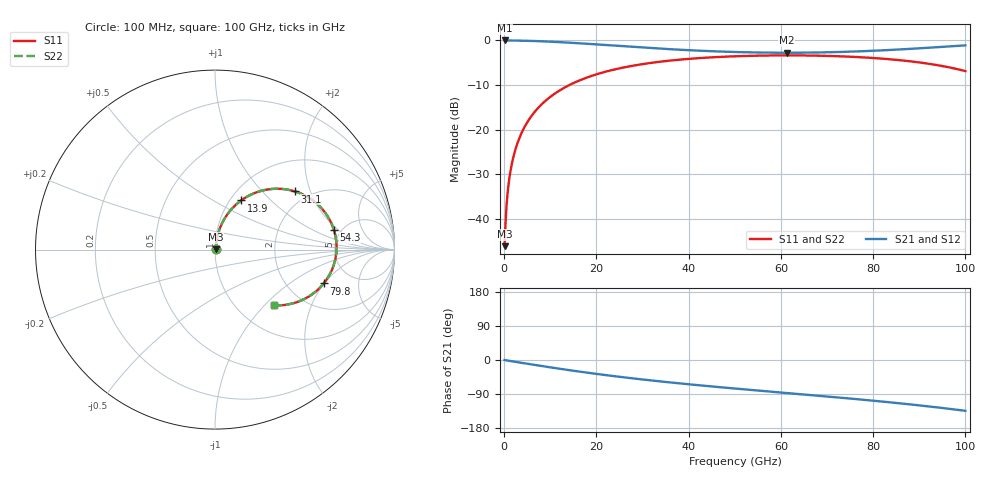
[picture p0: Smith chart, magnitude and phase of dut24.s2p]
! Touchstone file exported from HFSS 2026.1.0
!  File:  C:/ffzhzh/LocalFiles/Ansys_Project_Files/temp_train_RDL_24_1783497861_9504.aedt
!  Generated:  04:05:27 PM Jul  8, 2026
!  Design:  RDL
!  Project:  temp_train_RDL_24_1783497861_9504
! Variables:
!  h_bsmrdl = 2um
!  h_ox = 20um
!  h_rdl = 5um
!  h_sub = 80um
!  h_tmrdl = 2.34um
!  h_tsv = 80um
!  h_via = 3um
!  l_bsmrdl = 300um
!  l_sub = 853.92um
!  l_tmrdl = 453.92um
!  m_sub = 200um
!  pitch = 55.3um
!  r_tsv = 6um
!  s_tmrdl = 10um
!  w_bsmrdl = 18um
!  w_sub = 500um
!  w_tmrdl = 17.19um
!  x_tsv_center1 = 462.515um
!  x_tsv_center2 = 780.515um
!  x_tsv_center3 = 1251.625um
!  x_tsv_center4 = 1569.625um
!  x_tsv_center5 = 2040.735um
!  x_tsv_center6 = 2358.735um
# GHz S MA R 50.000000
! Terminal data exported
! Port[1] = TM_RDL1_1_T1
! Port[2] = TM_RDL1_1_T2
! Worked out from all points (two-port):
!   1000 points, 100 MHz to 100 GHz, reference 50 ohm
!   highest |S21| = -0.04 dB at 100 MHz (marker M1); lowest = -2.8 dB at 61.3 GHz (marker M2)
!   |S21| within 3 dB of the highest: start of sweep to end of sweep
!   lowest |S11| = -46.2 dB at 100 MHz (marker M3), VSWR 1.01, Z = 50.4 + j0.26 ohm
!   |S11| at or under -10 dB: start of sweep to 14.2 GHz
!   |S22| runs from -46.2 to -3.4 dB; largest |S21 - S12| = 3e-14
!   S11 on the Smith chart (normalised r, x): 100 MHz: 1.01, +0.01; 13.9 GHz: 1.12, +0.68; 31.1 GHz: 1.69, +1.57; 54.3 GHz: 4.35, +1.75; 79.8 GHz: 3.13, -1.97; 100 GHz: 1.45, -1.13
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0.1  0.004922 31.6  0.9958 -0.2  0.9958 -0.2  0.004922 31.6
! Gamma 0 0 0 0
! Port Impedance 50 0 50 0
0.9  0.02299 75.9  0.9948 -1.8  0.9948 -1.8  0.02299 75.9
1.4  0.03487 78.7  0.9942 -2.8  0.9942 -2.8  0.03487 78.7
2.3  0.05634 79.9  0.993 -4.6  0.993 -4.6  0.05634 79.9
3.6  0.08727 79.1  0.9905 -7.1  0.9905 -7.1  0.08727 79.1
5.4  0.1295 76.6  0.9854 -10.7  0.9854 -10.7  0.1295 76.6
7.7  0.1819 72.8  0.9765 -15.1  0.9765 -15.1  0.1819 72.8
10.5  0.2426 67.9  0.9625 -20.3  0.9625 -20.3  0.2426 67.9
13.9  0.3105 62.0  0.9419 -26.4  0.9419 -26.4  0.3105 61.9
16.8  0.3631 57.1  0.9223 -31.4  0.9223 -31.4  0.3631 57.1
23.6  0.4667 46.4  0.8738 -42.3  0.8738 -42.3  0.4667 46.4
31.1  0.5515 36.0  0.8231 -52.9  0.8231 -52.9  0.5514 36.0
33.4  0.572 33.0  0.8092 -55.9  0.8092 -55.9  0.572 33.0
41.7  0.6284 23.1  0.7671 -66.0  0.7671 -66.0  0.6283 23.1
50.1  0.662 13.9  0.7391 -75.4  0.7391 -75.4  0.662 13.9
54.3  0.6715 9.5  0.7308 -79.8  0.7308 -79.8  0.6714 9.5
61.3  0.6776 2.3  0.7254 -87.1  0.7254 -87.1  0.6775 2.3
66.7  0.6742 -3.2  0.7285 -92.8  0.7285 -92.8  0.6741 -3.2
79.8  0.6345 -17.3  0.7621 -107.1  0.7621 -107.1  0.6343 -17.3
83.4  0.6144 -21.4  0.7778 -111.4  0.7778 -111.4  0.6142 -21.4
92.4  0.5421 -32.7  0.8274 -123.0  0.8274 -123.0  0.542 -32.7
100  0.4516 -43.4  0.8773 -134.1  0.8773 -134.1  0.4514 -43.3
